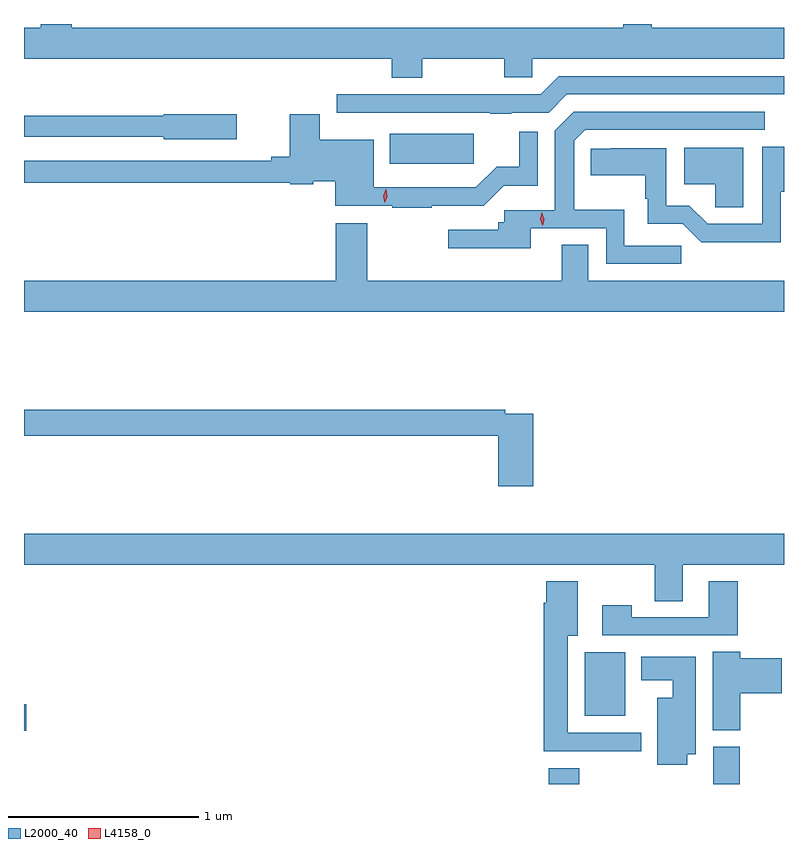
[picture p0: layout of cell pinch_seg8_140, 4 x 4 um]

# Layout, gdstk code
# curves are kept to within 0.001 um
import gdstk
lib = gdstk.Library(unit=1e-6, precision=1e-09)
def R(c, l, rs):  # rectangles x0, y0, x1, y1
    for r in rs: c.add(gdstk.rectangle(r[:2], r[2:], *l))
def P(c, l, *ps):  # polygons
    for p in ps: c.add(gdstk.Polygon(p, *l))
L2000_40 = (2000, 40)
L4158_0 = (4158, 0)

pinch_seg8_140 = lib.new_cell('pinch_seg8_140')
R(pinch_seg8_140, L2000_40, [(845.141,1135.327,845.301,1135.411), (846.005,1135.327,846.146,1135.524), (842.378,1135.606,842.389,1135.748), (845.33,1135.685,845.542,1136.02), (844.304,1138.592,844.744,1138.75)])
P(pinch_seg8_140, L2000_40, [(842.465,1139.327),(842.465,1139.308),(842.378,1139.308),(842.378,1139.144),(844.313,1139.144),(844.313,1139.045),(844.473,1139.045),(844.473,1139.144),(844.906,1139.144),(844.906,1139.046),(845.052,1139.046),(845.052,1139.144),(846.378,1139.144),(846.378,1139.308),(845.683,1139.308),(845.683,1139.327),(845.531,1139.327),(845.531,1139.308),(842.63,1139.308),(842.63,1139.327)],
  [(844.942,1138.86),(845.139,1138.86),(845.235,1138.956),(846.378,1138.956),(846.378,1139.052),(845.193,1139.052),(845.097,1138.956),(844.817,1138.956),(844.817,1138.958),(844.561,1138.958),(844.561,1138.956),(844.023,1138.956),(844.023,1138.86),(844.831,1138.86),(844.831,1138.855),(844.942,1138.855)],
  [(845.836,1138.16),(845.538,1138.16),(845.538,1138.349),(845.274,1138.349),(845.274,1138.713),(845.331,1138.77),(846.277,1138.77),(846.277,1138.866),(845.271,1138.866),(845.171,1138.766),(845.171,1138.347),(844.905,1138.347),(844.905,1138.284),(844.874,1138.284),(844.874,1138.245),(844.611,1138.245),(844.611,1138.148),(845.044,1138.148),(845.044,1138.251),(845.442,1138.251),(845.442,1138.065),(845.836,1138.065)],
  [(844.523,1138.371),(844.797,1138.371),(844.902,1138.476),(845.082,1138.476),(845.082,1138.759),(844.984,1138.759),(844.984,1138.577),(844.865,1138.577),(844.755,1138.467),(844.219,1138.467),(844.219,1138.717),(843.934,1138.717),(843.934,1138.852),(843.776,1138.852),(843.776,1138.628),(843.68,1138.628),(843.68,1138.608),(842.378,1138.608),(842.378,1138.492),(843.78,1138.492),(843.78,1138.484),(843.9,1138.484),(843.9,1138.499),(844.016,1138.499),(844.016,1138.371),(844.315,1138.371),(844.315,1138.359),(844.523,1138.359)],
  [(843.499,1138.851),(843.114,1138.851),(843.114,1138.843),(842.378,1138.843),(842.378,1138.734),(843.114,1138.734),(843.114,1138.721),(843.499,1138.721)],
  [(846.36,1138.445),(846.378,1138.445),(846.378,1138.681),(846.264,1138.681),(846.264,1138.275),(845.976,1138.275),(845.88,1138.371),(845.757,1138.371),(845.757,1138.672),(845.36,1138.671),(845.36,1138.532),(845.649,1138.532),(845.649,1138.407),(845.661,1138.407),(845.661,1138.275),(845.844,1138.275),(845.942,1138.178),(846.36,1138.178)],
  [(846.163,1138.675),(845.852,1138.675),(845.852,1138.484),(846.016,1138.484),(846.016,1138.362),(846.163,1138.362)],
  [(846.378,1137.976),(845.347,1137.976),(845.347,1138.166),(845.207,1138.166),(845.207,1137.976),(844.184,1137.976),(844.184,1138.279),(844.019,1138.279),(844.019,1137.976),(842.378,1137.976),(842.378,1137.812),(846.378,1137.812)],
  [(845.057,1137.276),(844.91,1137.276),(844.91,1137.296),(842.378,1137.296),(842.378,1137.16),(844.874,1137.16),(844.874,1136.895),(845.057,1136.895)],
  [(845.845,1136.48),(846.378,1136.48),(846.378,1136.644),(842.378,1136.644),(842.378,1136.48),(845.698,1136.48),(845.698,1136.29),(845.845,1136.29)],
  [(845.626,1135.596),(845.239,1135.596),(845.239,1136.108),(845.293,1136.108),(845.293,1136.395),(845.126,1136.395),(845.126,1136.282),(845.114,1136.282),(845.114,1135.499),(845.626,1135.499)],
  [(846.134,1136.395),(845.981,1136.395),(845.981,1136.205),(845.577,1136.205),(845.577,1136.269),(845.421,1136.269),(845.421,1136.109),(846.134,1136.109)],
  [(846.149,1135.805),(846.367,1135.805),(846.367,1135.988),(846.149,1135.988),(846.149,1136.024),(846.002,1136.024),(846.002,1135.609),(846.149,1135.609)],
  [(845.869,1135.484),(845.914,1135.484),(845.914,1135.996),(845.627,1135.996),(845.627,1135.874),(845.792,1135.874),(845.792,1135.78),(845.711,1135.78),(845.711,1135.428),(845.869,1135.428)])
P(pinch_seg8_140, L4158_0, [(845.107,1138.264),(845.107,1138.264),(845.095,1138.299),(845.102,1138.336),(845.102,1138.336),(845.102,1138.336),(845.115,1138.3),(845.107,1138.264)],
  [(844.276,1138.385),(844.276,1138.385),(844.27,1138.421),(844.283,1138.456),(844.283,1138.456),(844.284,1138.456),(844.29,1138.419),(844.276,1138.385)])

lib.write_gds('pinch_seg8_140.gds')
